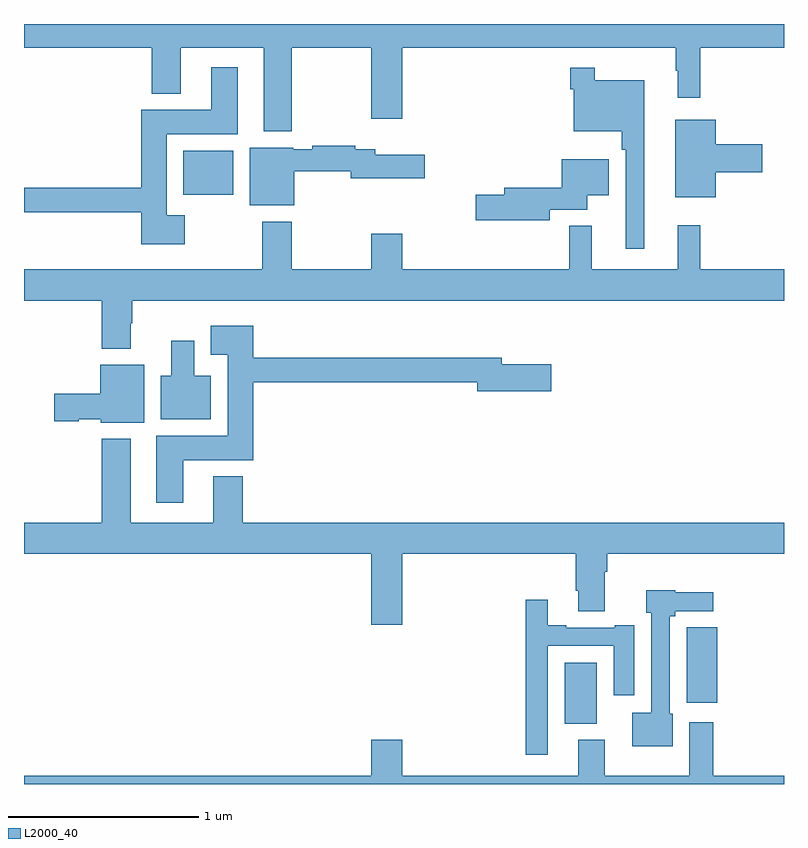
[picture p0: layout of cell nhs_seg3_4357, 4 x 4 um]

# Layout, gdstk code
import gdstk
lib = gdstk.Library(unit=1e-6, precision=1e-09)
def R(c, l, rs):  # rectangles x0, y0, x1, y1
    for r in rs: c.add(gdstk.rectangle(r[:2], r[2:], *l))
def P(c, l, *ps):  # polygons
    for p in ps: c.add(gdstk.Polygon(p, *l))
L2000_40 = (2000, 40)

nhs_seg3_4357 = lib.new_cell('nhs_seg3_4357')
R(nhs_seg3_4357, L2000_40, [(345.845,670.718,346.015,671.038), (346.487,670.827,346.649,671.225), (343.838,673.502,344.101,673.732)])
P(nhs_seg3_4357, L2000_40, [(344.409,674.276),(344.828,674.276),(344.828,673.902),(344.992,673.902),(344.992,674.276),(346.431,674.276),(346.431,674.153),(346.442,674.153),(346.442,674.013),(346.559,674.013),(346.559,674.276),(347,674.276),(347,674.4),(343,674.4),(343,674.276),(343.673,674.276),(343.673,674.033),(343.825,674.033),(343.825,674.276),(344.261,674.276),(344.261,673.835),(344.409,673.835)],
  [(343.846,673.393),(343.75,673.393),(343.75,673.82),(344.125,673.82),(344.125,674.173),(343.985,674.173),(343.985,673.948),(343.616,673.948),(343.616,673.538),(343,673.538),(343,673.41),(343.616,673.41),(343.616,673.241),(343.846,673.241)],
  [(346.264,674.104),(346.003,674.104),(346.003,674.17),(345.874,674.17),(345.874,674.057),(345.894,674.057),(345.894,673.835),(346.147,673.835),(346.147,673.739),(346.167,673.739),(346.167,673.218),(346.264,673.218)],
  [(346.642,673.619),(346.885,673.619),(346.885,673.766),(346.642,673.766),(346.642,673.897),(346.427,673.897),(346.427,673.487),(346.642,673.487)],
  [(344.422,673.624),(344.72,673.624),(344.72,673.589),(345.109,673.589),(345.109,673.711),(344.848,673.711),(344.848,673.74),(344.744,673.74),(344.744,673.76),(344.518,673.76),(344.518,673.74),(344.418,673.74),(344.418,673.75),(344.189,673.75),(344.189,673.445),(344.422,673.445)],
  [(345.766,673.422),(345.964,673.422),(345.964,673.499),(346.078,673.499),(346.078,673.687),(345.83,673.687),(345.83,673.538),(345.527,673.538),(345.527,673.502),(345.378,673.502),(345.378,673.367),(345.766,673.367)],
  [(343.561,672.824),(343.569,672.824),(343.569,672.944),(347,672.944),(347,673.108),(346.559,673.108),(346.559,673.342),(346.442,673.342),(346.442,673.108),(345.989,673.108),(345.989,673.337),(345.871,673.337),(345.871,673.108),(344.992,673.108),(344.992,673.297),(344.828,673.297),(344.828,673.108),(344.409,673.108),(344.409,673.36),(344.254,673.36),(344.254,673.108),(343,673.108),(343,672.944),(343.409,672.944),(343.409,672.692),(343.561,672.692)],
  [(343.837,672.104),(344.207,672.104),(344.207,672.514),(345.386,672.514),(345.386,672.467),(345.775,672.467),(345.775,672.609),(345.514,672.609),(345.514,672.643),(344.207,672.643),(344.207,672.811),(343.982,672.811),(343.982,672.659),(344.072,672.659),(344.072,672.232),(343.697,672.232),(343.697,671.88),(343.837,671.88)],
  [(343.984,672.55),(343.897,672.55),(343.897,672.733),(343.775,672.733),(343.775,672.55),(343.721,672.55),(343.721,672.32),(343.984,672.32)],
  [(343.633,672.607),(343.4,672.607),(343.4,672.455),(343.158,672.455),(343.158,672.308),(343.287,672.308),(343.287,672.32),(343.404,672.32),(343.404,672.302),(343.633,672.302)],
  [(344.992,671.612),(345.905,671.612),(345.905,671.416),(345.917,671.416),(345.917,671.308),(346.057,671.308),(346.057,671.516),(346.07,671.516),(346.07,671.612),(347,671.612),(347,671.776),(344.15,671.776),(344.15,672.019),(343.997,672.019),(343.997,671.776),(343.561,671.776),(343.561,672.217),(343.409,672.217),(343.409,671.776),(343,671.776),(343,671.612),(344.828,671.612),(344.828,671.238),(344.992,671.238)],
  [(346.414,670.77),(346.398,670.77),(346.398,671.282),(346.428,671.282),(346.428,671.31),(346.627,671.31),(346.627,671.408),(346.428,671.408),(346.428,671.419),(346.274,671.419),(346.274,671.301),(346.302,671.301),(346.302,670.774),(346.202,670.774),(346.202,670.598),(346.414,670.598)],
  [(345.756,671.127),(346.103,671.127),(346.103,670.866),(346.213,670.866),(346.213,671.236),(346.109,671.236),(346.109,671.223),(345.853,671.223),(345.853,671.236),(345.757,671.236),(345.757,671.371),(345.64,671.371),(345.64,670.554),(345.756,670.554)],
  [(347,670.444),(346.628,670.444),(346.628,670.726),(346.502,670.726),(346.502,670.444),(346.057,670.444),(346.057,670.633),(345.917,670.633),(345.917,670.444),(344.992,670.444),(344.992,670.633),(344.828,670.633),(344.828,670.444),(343,670.444),(343,670.4),(347,670.4)])

lib.write_gds('nhs_seg3_4357.gds')
